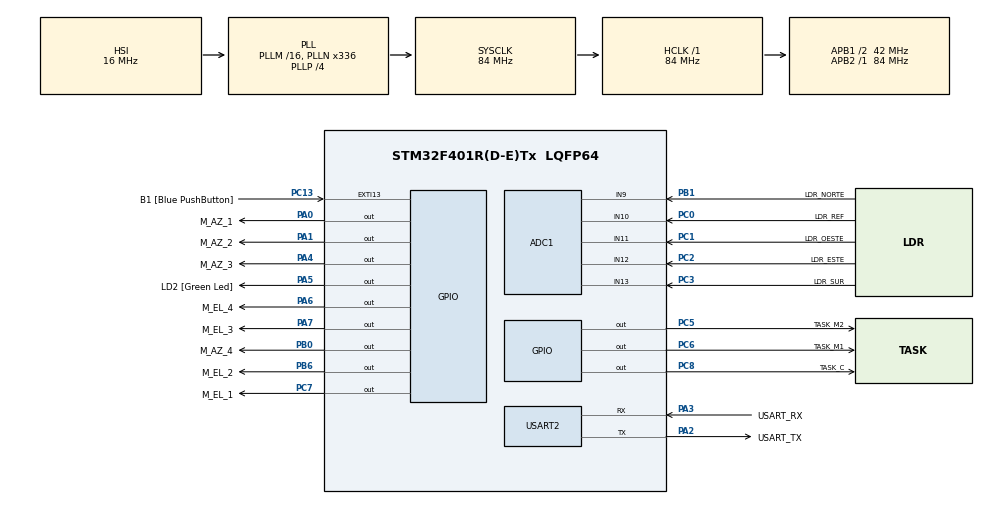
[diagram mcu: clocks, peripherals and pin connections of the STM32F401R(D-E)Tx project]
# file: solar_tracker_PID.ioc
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ADC1.Channel-0\#ChannelRegularConversion=ADC_CHANNEL_9
ADC1.Channel-1\#ChannelRegularConversion=ADC_CHANNEL_10
ADC1.Channel-2\#ChannelRegularConversion=ADC_CHANNEL_11
ADC1.Channel-3\#ChannelRegularConversion=ADC_CHANNEL_12
ADC1.Channel-4\#ChannelRegularConversion=ADC_CHANNEL_13
ADC1.ContinuousConvMode=ENABLE
ADC1.DMAContinuousRequests=ENABLE
ADC1.NbrOfConversion=5
ADC1.NbrOfConversionFlag=1
ADC1.Rank-0\#ChannelRegularConversion=1
ADC1.Rank-1\#ChannelRegularConversion=2
ADC1.Rank-2\#ChannelRegularConversion=3
ADC1.Rank-3\#ChannelRegularConversion=4
ADC1.Rank-4\#ChannelRegularConversion=5
ADC1.SamplingTime-0\#ChannelRegularConversion=ADC_SAMPLETIME_84CYCLES
ADC1.SamplingTime-1\#ChannelRegularConversion=ADC_SAMPLETIME_84CYCLES
ADC1.SamplingTime-2\#ChannelRegularConversion=ADC_SAMPLETIME_84CYCLES
ADC1.SamplingTime-3\#ChannelRegularConversion=ADC_SAMPLETIME_84CYCLES
ADC1.SamplingTime-4\#ChannelRegularConversion=ADC_SAMPLETIME_84CYCLES
ADC1.ScanConvMode=ENABLE
ADC1.master=1
Dma.ADC1.1.Direction=DMA_PERIPH_TO_MEMORY
Dma.ADC1.1.FIFOMode=DMA_FIFOMODE_DISABLE
Dma.ADC1.1.Instance=DMA2_Stream0
Dma.ADC1.1.MemDataAlignment=DMA_MDATAALIGN_WORD
Dma.ADC1.1.MemInc=DMA_MINC_ENABLE
Dma.ADC1.1.Mode=DMA_CIRCULAR
Dma.ADC1.1.PeriphDataAlignment=DMA_PDATAALIGN_WORD
Dma.ADC1.1.PeriphInc=DMA_PINC_DISABLE
Dma.ADC1.1.Priority=DMA_PRIORITY_LOW
Dma.Request0=USART2_TX
Dma.Request1=ADC1
Dma.USART2_TX.0.Direction=DMA_MEMORY_TO_PERIPH
Dma.USART2_TX.0.FIFOMode=DMA_FIFOMODE_DISABLE
Dma.USART2_TX.0.Instance=DMA1_Stream6
Dma.USART2_TX.0.MemDataAlignment=DMA_MDATAALIGN_BYTE
Dma.USART2_TX.0.MemInc=DMA_MINC_ENABLE
Dma.USART2_TX.0.Mode=DMA_NORMAL
Dma.USART2_TX.0.PeriphDataAlignment=DMA_PDATAALIGN_BYTE
Dma.USART2_TX.0.PeriphInc=DMA_PINC_DISABLE
Dma.USART2_TX.0.Priority=DMA_PRIORITY_LOW
FREERTOS.Queues01=motorAzQueue,5,int32_t,0,Dynamic,NULL,NULL;motorElQueue,5,int32_t,0,Dynamic,NULL,NULL
FREERTOS.Tasks01=defaultTask,8,128,StartDefaultTask,Default,NULL,Dynamic,NULL,NULL;controlTask,40,256,ControlTask,Default,NULL,Dynamic,NULL,NULL;motorAzTask,24,128,MotorAzTask,Default,NULL,Dynamic,NULL,NULL;motorElTask,24,128,MotorElTask,Default,NULL,Dynamic,NULL,NULL
Mcu.Family=STM32F4
Mcu.Name=STM32F401R(D-E)Tx
Mcu.Package=LQFP64
NVIC.DMA1_Stream6_IRQn=true\:5\:0\:false\:false\:true\:true\:false\:true\:true
NVIC.DMA2_Stream0_IRQn=true\:5\:0\:false\:false\:true\:true\:false\:true\:true
NVIC.PriorityGroup=NVIC_PRIORITYGROUP_4
NVIC.TIM1_UP_TIM10_IRQn=true\:15\:0\:false\:false\:true\:false\:false\:true\:true
NVIC.TimeBase=TIM1_UP_TIM10_IRQn
NVIC.TimeBaseIP=TIM1
NVIC.USART2_IRQn=true\:5\:0\:false\:false\:true\:true\:true\:true\:true
PA0-WKUP.GPIO_Label=M_AZ_1
PA0-WKUP.Signal=GPIO_Output
PA1.GPIO_Label=M_AZ_2
PA1.Signal=GPIO_Output
PA13.GPIO_Label=TMS
PA13.Mode=Trace_Asynchronous_SW
PA13.Signal=SYS_JTMS-SWDIO
PA14.GPIO_Label=TCK
PA14.Mode=Trace_Asynchronous_SW
PA14.Signal=SYS_JTCK-SWCLK
PA2.GPIO_Label=USART_TX
PA2.GPIO_Mode=GPIO_MODE_AF_PP
PA2.GPIO_PuPd=GPIO_NOPULL
PA2.GPIO_Speed=GPIO_SPEED_FREQ_LOW
PA2.Mode=Asynchronous
PA2.Signal=USART2_TX
PA3.GPIO_Label=USART_RX
PA3.GPIO_Mode=GPIO_MODE_AF_PP
PA3.GPIO_PuPd=GPIO_NOPULL
PA3.GPIO_Speed=GPIO_SPEED_FREQ_LOW
PA3.Mode=Asynchronous
PA3.Signal=USART2_RX
PA4.GPIO_Label=M_AZ_3
PA4.Signal=GPIO_Output
PA5.GPIO_Label=LD2 [Green Led]
PA5.GPIO_Mode=GPIO_MODE_OUTPUT_PP
PA5.GPIO_ModeDefaultOutputPP=GPIO_MODE_OUTPUT_PP
PA5.GPIO_PuPd=GPIO_NOPULL
PA5.GPIO_Speed=GPIO_SPEED_FREQ_LOW
PA5.Signal=GPIO_Output
PA6.GPIO_Label=M_EL_4
PA6.Signal=GPIO_Output
PA7.GPIO_Label=M_EL_3
PA7.Signal=GPIO_Output
PB0.GPIO_Label=M_AZ_4
PB0.Signal=GPIO_Output
PB1.GPIO_Label=LDR_NORTE
PB1.Signal=ADCx_IN9
PB3.GPIO_Label=SWO
PB3.Mode=Trace_Asynchronous_SW
PB3.Signal=SYS_JTDO-SWO
PB6.GPIO_Label=M_EL_2
PB6.Signal=GPIO_Output
PC0.GPIO_Label=LDR_REF
PC0.Signal=ADCx_IN10
PC1.GPIO_Label=LDR_OESTE
PC1.Signal=ADCx_IN11
PC13-ANTI_TAMP.GPIO_Label=B1 [Blue PushButton]
PC13-ANTI_TAMP.GPIO_ModeDefaultEXTI=GPIO_MODE_IT_FALLING
PC13-ANTI_TAMP.GPIO_PuPd=GPIO_NOPULL
PC13-ANTI_TAMP.Signal=GPXTI13
PC14-OSC32_IN.Mode=LSE-External-Oscillator
PC14-OSC32_IN.Signal=RCC_OSC32_IN
PC15-OSC32_OUT.Mode=LSE-External-Oscillator
PC15-OSC32_OUT.Signal=RCC_OSC32_OUT
PC2.GPIO_Label=LDR_ESTE
PC2.Signal=ADCx_IN12
PC3.GPIO_Label=LDR_SUR
PC3.Signal=ADCx_IN13
PC5.GPIO_Label=TASK_M2
PC5.Signal=GPIO_Output
PC6.GPIO_Label=TASK_M1
PC6.Signal=GPIO_Output
PC7.GPIO_Label=M_EL_1
PC7.Signal=GPIO_Output
PC8.GPIO_Label=TASK_C
PC8.Signal=GPIO_Output
PH0\ -\ OSC_IN.Mode=HSE-External-Clock-Source
PH0\ -\ OSC_IN.Signal=RCC_OSC_IN
PH1\ -\ OSC_OUT.Mode=HSE-External-Clock-Source
PH1\ -\ OSC_OUT.Signal=RCC_OSC_OUT
ProjectManager.HeapSize=0x200
ProjectManager.StackSize=0x400
ProjectManager.TargetToolchain=STM32CubeIDE
RCC.48MHZClocksFreq_Value=48000000
RCC.AHBFreq_Value=84000000
RCC.APB1CLKDivider=RCC_HCLK_DIV2
RCC.APB1Freq_Value=42000000
RCC.APB1TimFreq_Value=84000000
RCC.APB2Freq_Value=84000000
RCC.APB2TimFreq_Value=84000000
RCC.CortexFreq_Value=84000000
RCC.HCLKFreq_Value=84000000
RCC.HSE_VALUE=8000000
RCC.HSI_VALUE=16000000
RCC.PLLN=336
RCC.PLLP=RCC_PLLP_DIV4
RCC.PLLQ=7
RCC.SYSCLKFreq_VALUE=84000000
RCC.SYSCLKSource=RCC_SYSCLKSOURCE_PLLCLK
RCC.VCOOutputFreq_Value=336000000
SH.ADCx_IN10.0=ADC1_IN10,IN10
SH.ADCx_IN11.0=ADC1_IN11,IN11
SH.ADCx_IN12.0=ADC1_IN12,IN12
SH.ADCx_IN13.0=ADC1_IN13,IN13
SH.ADCx_IN9.0=ADC1_IN9,IN9
USART2.VirtualMode=VM_ASYNC
VP_FREERTOS_VS_CMSIS_V2.Mode=CMSIS_V2
VP_SYS_VS_tim1.Mode=TIM1
board=NUCLEO-F401RE

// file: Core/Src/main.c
/* USER CODE BEGIN Header */
/**
 ******************************************************************************
 * @file           : main.c
 * @brief          : Main program body
 ******************************************************************************
 * @attention
 *
 * Copyright (c) 2025 STMicroelectronics.
 * All rights reserved.
 *
 * This software is licensed under terms that can be found in the LICENSE file
 * in the root directory of this software component.
 * If no LICENSE file comes with this software, it is provided AS-IS.
 *
 ******************************************************************************
 */
/* USER CODE END Header */
#include "main.h"
#include "cmsis_os.h"
#include "adc.h"
#include "dma.h"
#include "usart.h"
#include "gpio.h"

/* USER CODE BEGIN PV */
volatile uint32_t g_adc_valores[5];
/* USER CODE END PV */

void SystemClock_Config(void);
void MX_FREERTOS_Init(void);

int main(void)
{

  /* MCU Configuration--------------------------------------------------------*/

  /* Reset of all peripherals, Initializes the Flash interface and the Systick. */
  HAL_Init();

  /* Configure the system clock */
  SystemClock_Config();

  /* Initialize all configured peripherals */
  MX_GPIO_Init();
  MX_DMA_Init();
  MX_USART2_UART_Init();
  MX_ADC1_Init();
  /* USER CODE BEGIN 2 */
  HAL_ADC_Start_DMA(&hadc1, (uint32_t*)g_adc_valores, 5);
  /* USER CODE END 2 */

  /* Init scheduler */
  osKernelInitialize();  /* Call init function for freertos objects (in cmsis_os2.c) */
  MX_FREERTOS_Init();

  /* Start scheduler */
  osKernelStart();

  /* We should never get here as control is now taken by the scheduler */

  /* Infinite loop */
	while (1) {

	}
}

void SystemClock_Config(void)
{
  RCC_OscInitTypeDef RCC_OscInitStruct = {0};
  RCC_ClkInitTypeDef RCC_ClkInitStruct = {0};

  /** Configure the main internal regulator output voltage
  */
  __HAL_RCC_PWR_CLK_ENABLE();
  __HAL_PWR_VOLTAGESCALING_CONFIG(PWR_REGULATOR_VOLTAGE_SCALE2);

  /** Initializes the RCC Oscillators according to the specified parameters
  * in the RCC_OscInitTypeDef structure.
  */
  RCC_OscInitStruct.OscillatorType = RCC_OSCILLATORTYPE_HSI;
  RCC_OscInitStruct.HSIState = RCC_HSI_ON;
  RCC_OscInitStruct.HSICalibrationValue = RCC_HSICALIBRATION_DEFAULT;
  RCC_OscInitStruct.PLL.PLLState = RCC_PLL_ON;
  RCC_OscInitStruct.PLL.PLLSource = RCC_PLLSOURCE_HSI;
  RCC_OscInitStruct.PLL.PLLM = 16;
  RCC_OscInitStruct.PLL.PLLN = 336;
  RCC_OscInitStruct.PLL.PLLP = RCC_PLLP_DIV4;
  RCC_OscInitStruct.PLL.PLLQ = 7;
  if (HAL_RCC_OscConfig(&RCC_OscInitStruct) != HAL_OK)
  {
    Error_Handler();
  }

  /** Initializes the CPU, AHB and APB buses clocks
  */
  RCC_ClkInitStruct.ClockType = RCC_CLOCKTYPE_HCLK|RCC_CLOCKTYPE_SYSCLK
                              |RCC_CLOCKTYPE_PCLK1|RCC_CLOCKTYPE_PCLK2;
  RCC_ClkInitStruct.SYSCLKSource = RCC_SYSCLKSOURCE_PLLCLK;
  RCC_ClkInitStruct.AHBCLKDivider = RCC_SYSCLK_DIV1;
  RCC_ClkInitStruct.APB1CLKDivider = RCC_HCLK_DIV2;
  RCC_ClkInitStruct.APB2CLKDivider = RCC_HCLK_DIV1;

  if (HAL_RCC_ClockConfig(&RCC_ClkInitStruct, FLASH_LATENCY_2) != HAL_OK)
  {
    Error_Handler();
  }
}

void HAL_TIM_PeriodElapsedCallback(TIM_HandleTypeDef *htim)
{
  if (htim->Instance == TIM1)
  {
    HAL_IncTick();
  }
}

void Error_Handler(void)
{
	__disable_irq();
	while (1) {
	}
}

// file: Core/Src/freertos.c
/* USER CODE BEGIN Header */
/**
 ******************************************************************************
 * File Name          : freertos.c
 * Description        : Code for freertos applications
 ******************************************************************************
 * @attention
 *
 * Copyright (c) 2025 STMicroelectronics.
 * All rights reserved.
 *
 * This software is licensed under terms that can be found in the LICENSE file
 * in the root directory of this software component.
 * If no LICENSE file comes with this software, it is provided AS-IS.
 *
 ******************************************************************************
 */
/* USER CODE END Header */

#include "FreeRTOS.h"
#include "task.h"
#include "main.h"
#include "cmsis_os.h"

/* USER CODE BEGIN Includes */
#include <stdio.h>
#include <string.h>
/* USER CODE END Includes */

/* USER CODE BEGIN PTD */
enum Motor_Id {
	MOTOR_ELEVATION, MOTOR_AZIMUTH
};

/* USER CODE END PTD */

/* USER CODE BEGIN PD */
#define TIEMPO_MUESTREO 50
#define LIMITE_AZIMUTH 18000
#define LIMITE_INFERIOR 0 // Asumimos que 0 es el otro límite
#define ALPHA 0.1f
/* USER CODE END PD */

/* USER CODE BEGIN Variables */
const uint8_t step_sequence[8][4] = { { 1, 0, 0, 0 }, { 1, 1, 0, 0 }, { 0, 1, 0,
		0 }, { 0, 1, 1, 0 }, { 0, 0, 1, 0 }, { 0, 0, 1, 1 }, { 0, 0, 0, 1 }, {
		1, 0, 0, 1 } };

extern ADC_HandleTypeDef hadc1;
extern UART_HandleTypeDef huart2;
extern volatile uint32_t g_adc_valores[5];
volatile float g_adc_valores_filtrados[5];
/* USER CODE END Variables */
/* Definitions for defaultTask */
osThreadId_t defaultTaskHandle;
const osThreadAttr_t defaultTask_attributes = {
  .name = "defaultTask",
  .stack_size = 128 * 4,
  .priority = (osPriority_t) osPriorityLow,
};
/* Definitions for controlTask */
osThreadId_t controlTaskHandle;
const osThreadAttr_t controlTask_attributes = {
  .name = "controlTask",
  .stack_size = 256 * 4,
  .priority = (osPriority_t) osPriorityHigh,
};
/* Definitions for motorAzTask */
osThreadId_t motorAzTaskHandle;
const osThreadAttr_t motorAzTask_attributes = {
  .name = "motorAzTask",
  .stack_size = 128 * 4,
  .priority = (osPriority_t) osPriorityNormal,
};
/* Definitions for motorElTask */
osThreadId_t motorElTaskHandle;
const osThreadAttr_t motorElTask_attributes = {
  .name = "motorElTask",
  .stack_size = 128 * 4,
  .priority = (osPriority_t) osPriorityNormal,
};
/* Definitions for motorAzQueue */
osMessageQueueId_t motorAzQueueHandle;
const osMessageQueueAttr_t motorAzQueue_attributes = {
  .name = "motorAzQueue"
};
/* Definitions for motorElQueue */
osMessageQueueId_t motorElQueueHandle;
const osMessageQueueAttr_t motorElQueue_attributes = {
  .name = "motorElQueue"
};

/* USER CODE BEGIN FunctionPrototypes */
void setStep(uint8_t step, enum Motor_Id motor_id);
/* USER CODE END FunctionPrototypes */

void StartDefaultTask(void *argument);
void ControlTask(void *argument);
void MotorAzTask(void *argument);
void MotorElTask(void *argument);

void MX_FREERTOS_Init(void); /* (MISRA C 2004 rule 8.1) */

void MX_FREERTOS_Init(void) {

  /* Create the queue(s) */
  /* creation of motorAzQueue */
  motorAzQueueHandle = osMessageQueueNew (5, sizeof(int32_t), &motorAzQueue_attributes);

  /* creation of motorElQueue */
  motorElQueueHandle = osMessageQueueNew (5, sizeof(int32_t), &motorElQueue_attributes);

  /* Create the thread(s) */
  /* creation of defaultTask */
  defaultTaskHandle = osThreadNew(StartDefaultTask, NULL, &defaultTask_attributes);

  /* creation of controlTask */
  controlTaskHandle = osThreadNew(ControlTask, NULL, &controlTask_attributes);

  /* creation of motorAzTask */
  motorAzTaskHandle = osThreadNew(MotorAzTask, NULL, &motorAzTask_attributes);

  /* creation of motorElTask */
  motorElTaskHandle = osThreadNew(MotorElTask, NULL, &motorElTask_attributes);

}

void StartDefaultTask(void *argument)
{
  /* USER CODE BEGIN StartDefaultTask */
	/* Infinite loop */
	for (;;) {
		HAL_GPIO_TogglePin(LD2_GPIO_Port, LD2_Pin);
		osDelay(1000);
	}
  /* USER CODE END StartDefaultTask */
}

void ControlTask(void *argument)
{
  /* USER CODE BEGIN ControlTask */
	// --- PID para Azimuth ---
	float Kp_az = 0.1;
	float Ki_az = 0.0;
	float Kd_az = 0.0;
	float integral_sum_az = 0.0;
	float last_error_az = 0.0;

	// --- PID para Elevación ---
	float Kp_el = 0.1;
	float Ki_el = 0.0;
	float Kd_el = 0.2;
	float integral_sum_el = 0.0;
	float last_error_el = 0.0;

	const float dt = 0.05; // Tiempo de muestreo = 50ms = 0.05s

	static char tx_buffer[256];

	// Inicializar los valores filtrados con la primera lectura de ADC
	for (int i = 0; i < 5; i++) {
		g_adc_valores_filtrados[i] = g_adc_valores[i];
	}

	/* Infinite loop */
	for (;;) {
		HAL_GPIO_WritePin(TASK_C_GPIO_Port, TASK_C_Pin, GPIO_PIN_SET);
		// Aplicar el filtro EMA a los valores del ADC
		for (int i = 0; i < 5; i++) {
			g_adc_valores_filtrados[i] = (ALPHA * g_adc_valores[i]) + ((1.0f - ALPHA) * g_adc_valores_filtrados[i]);
		}

		uint32_t ldr_norte = g_adc_valores_filtrados[0]; // Asumiendo Rank 1 = CH9
//		uint32_t ldr_ref = g_adc_valores[1];
		uint32_t ldr_oeste = g_adc_valores_filtrados[2]; // Asumiendo Rank 3 = CH11
		uint32_t ldr_este = g_adc_valores_filtrados[3]; // Asumiendo Rank 4 = CH12
		uint32_t ldr_sur = g_adc_valores_filtrados[4]; // Asumiendo Rank 5 = CH13

		// 2. Calcular Error_Az y Error_El
		int32_t error_az = ldr_este - ldr_oeste;
		int32_t error_el = ldr_norte - ldr_sur;

		//PID AZIMUTH
		float p_term_az = Kp_az * (float) error_az;
		if (osMessageQueueGetSpace(motorAzQueueHandle) > 0) {
			integral_sum_az += (float) error_az * dt;
		}

		float i_term_az = Ki_az * integral_sum_az;
		float error_deriv_az = ((float) error_az - last_error_az) / dt;
		float d_term_az = Kd_az * error_deriv_az;
		last_error_az = (float) error_az;

		//PID ELEVACIÓN
		float p_term_el = Kp_el * (float) error_el;
		if (osMessageQueueGetSpace(motorElQueueHandle) > 0) {
			integral_sum_el += (float) error_el * dt;
		}
		float i_term_el = Ki_el * integral_sum_el;
		float error_deriv_el = ((float) error_el - last_error_el) / dt;
		float d_term_el = Kd_el * error_deriv_el;
		last_error_el = (float) error_el;

		//SALIDA DEL PID AZIMUTH
		int32_t pasos_az = (int32_t) (p_term_az + i_term_az + d_term_az);

		//SALIDA DEL PID ELEVACION
		int32_t pasos_el_calculados = (int32_t) (p_term_el + i_term_el
				+ d_term_el);
		int32_t pasos_el = -pasos_el_calculados;

		if (pasos_az != 0) {
			osMessageQueuePut(motorAzQueueHandle, &pasos_az, 0U, 0U);
		}
		if (pasos_el != 0) {
			osMessageQueuePut(motorElQueueHandle, &pasos_el, 0U, 0U);
		}

		if (HAL_UART_GetState(&huart2) == HAL_UART_STATE_READY) {
			snprintf(tx_buffer, 256,
					"N:%ld S:%ld |  ErrEl:%ld |  P_El:%ld\r\n",
					 ldr_norte, ldr_sur, error_el,
					 pasos_el);

			HAL_UART_Transmit_DMA(&huart2, (uint8_t*) tx_buffer,
					strlen(tx_buffer));
		}
		HAL_GPIO_WritePin(TASK_C_GPIO_Port, TASK_C_Pin, GPIO_PIN_RESET);
		osDelay(50);
	}
  /* USER CODE END ControlTask */
}

void MotorAzTask(void *argument)
{
  /* USER CODE BEGIN MotorAzTask */
	int32_t pasos_a_mover = 0;
	uint8_t paso_actual_az = 0;

	int32_t posicion_actual_az = 0;
	/* Infinite loop */
	for (;;) {
		if (osMessageQueueGet(motorAzQueueHandle, &pasos_a_mover, NULL,
		osWaitForever) == osOK) {
			HAL_GPIO_WritePin(TASK_M1_GPIO_Port, TASK_M1_Pin, GPIO_PIN_SET);
			if (pasos_a_mover > 0) {
				if (posicion_actual_az + pasos_a_mover > LIMITE_AZIMUTH) {
					// El comando nos pide ir más allá del límite.
					// Recalculamos los pasos para ir SOLO hasta el límite.
					pasos_a_mover = LIMITE_AZIMUTH - posicion_actual_az;
				}
			}
			// 3. Comprobar si el movimiento es en dirección negativa
			else if (pasos_a_mover < 0) {
				if (posicion_actual_az + pasos_a_mover < LIMITE_INFERIOR) {
					// El comando nos pide ir más allá del límite 0.
					// Recalculamos los pasos para ir SOLO hasta 0.
					pasos_a_mover = LIMITE_INFERIOR - posicion_actual_az; // (Esto dará un número negativo o 0)
				}
			}
			if (pasos_a_mover == 0) {
				continue;
			}
			// 2. Ejecutar la orden
			int32_t pasos_abs =
					(pasos_a_mover > 0) ? pasos_a_mover : -pasos_a_mover;

			for (int i = 0; i < pasos_abs; i++) {
				if (pasos_a_mover > 0) {
					paso_actual_az++;
					if (paso_actual_az > 7)
						paso_actual_az = 0;
					posicion_actual_az++;

				} else {
					paso_actual_az--;
					if (paso_actual_az < 0)
						paso_actual_az = 7;
					posicion_actual_az--;
				}
				setStep(paso_actual_az, MOTOR_AZIMUTH);
				HAL_GPIO_WritePin(TASK_M1_GPIO_Port, TASK_M1_Pin, GPIO_PIN_RESET);
				osDelay(4);
			}
		}
	}
  /* USER CODE END MotorAzTask */
}

void MotorElTask(void *argument)
{
  /* USER CODE BEGIN MotorElTask */
	int32_t pasos_a_mover = 0;
	uint8_t paso_actual_el = 0;

	/* Infinite loop */
	for (;;) {
		if (osMessageQueueGet(motorElQueueHandle, &pasos_a_mover, NULL,
		osWaitForever) == osOK) {
			HAL_GPIO_WritePin(TASK_M2_GPIO_Port, TASK_M2_Pin, GPIO_PIN_SET);
			if(pasos_a_mover == 0){
				continue;
			}
			int32_t pasos_abs =
					(pasos_a_mover > 0) ? pasos_a_mover : -pasos_a_mover;

			for (int i = 0; i < pasos_abs; i++) {
				if (pasos_a_mover > 0) {
					paso_actual_el++;
					if (paso_actual_el > 7)
						paso_actual_el = 0;

				} else {
					paso_actual_el--;
					if (paso_actual_el < 0)
						paso_actual_el = 7;

				}
				setStep(paso_actual_el, MOTOR_ELEVATION);
				HAL_GPIO_WritePin(TASK_M2_GPIO_Port, TASK_M2_Pin, GPIO_PIN_RESET);
				osDelay(4);

			}

		}

	}
  /* USER CODE END MotorElTask */
}

/* USER CODE BEGIN Application */

void setStep(uint8_t step, enum Motor_Id motor_id) {
// Asegurarse de que el índice esté en el rango 0-7
	step = step % 8;

	switch (motor_id) {
	case MOTOR_AZIMUTH:
		HAL_GPIO_WritePin(M_AZ_1_GPIO_Port, M_AZ_1_Pin,
				step_sequence[step][0] ? GPIO_PIN_SET : GPIO_PIN_RESET);
		HAL_GPIO_WritePin(M_AZ_2_GPIO_Port, M_AZ_2_Pin,
				step_sequence[step][1] ? GPIO_PIN_SET : GPIO_PIN_RESET);
		HAL_GPIO_WritePin(M_AZ_3_GPIO_Port, M_AZ_3_Pin,
				step_sequence[step][2] ? GPIO_PIN_SET : GPIO_PIN_RESET);
		HAL_GPIO_WritePin(M_AZ_4_GPIO_Port, M_AZ_4_Pin,
				step_sequence[step][3] ? GPIO_PIN_SET : GPIO_PIN_RESET);
		break;
	case MOTOR_ELEVATION:
		HAL_GPIO_WritePin(M_EL_1_GPIO_Port, M_EL_1_Pin,
				step_sequence[step][0] ? GPIO_PIN_SET : GPIO_PIN_RESET);
		HAL_GPIO_WritePin(M_EL_2_GPIO_Port, M_EL_2_Pin,
				step_sequence[step][1] ? GPIO_PIN_SET : GPIO_PIN_RESET);
		HAL_GPIO_WritePin(M_EL_3_GPIO_Port, M_EL_3_Pin,
				step_sequence[step][2] ? GPIO_PIN_SET : GPIO_PIN_RESET);
		HAL_GPIO_WritePin(M_EL_4_GPIO_Port, M_EL_4_Pin,
				step_sequence[step][3] ? GPIO_PIN_SET : GPIO_PIN_RESET);
		break;
	default:
		break;
	}
}

/* USER CODE END Application */
